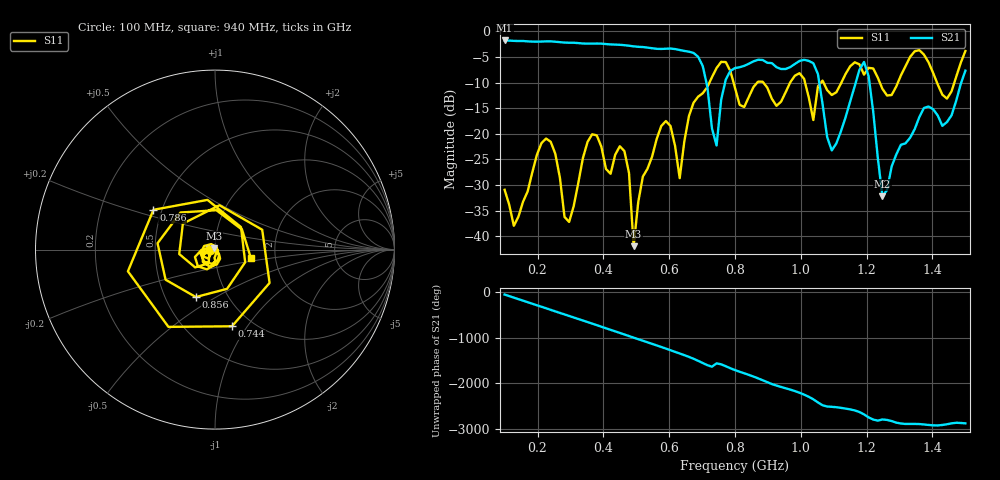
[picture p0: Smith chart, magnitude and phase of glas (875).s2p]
! NanoVNA-App
! Date: 2025-09-25 16:02:17
! Start: 100MHz Stop: 1,5GHz Points: 101
! S-Parameter data: F S11 S21 S12 S22
# Hz S RI R 50
!  Frequency  S11_Real  S11_Imag  S21_Real  S21_Imag  S12_Real  S12_Imag  S22_Real  S22_Imag
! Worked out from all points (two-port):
!   101 points, 100 MHz to 1.5 GHz, reference 50 ohm
!   highest |S21| = -1.80 dB at 100 MHz (marker M1); lowest = -32.2 dB at 1.248 GHz (marker M2)
!   |S21| within 3 dB of the highest: start of sweep to 684.7 MHz
!   lowest |S11| = -41.9 dB at 492 MHz (marker M3), VSWR 1.02, Z = 49.5 + j0.627 ohm
!   |S11| at or under -10 dB: start of sweep to 722.5 MHz; 795.5 MHz to 867.8 MHz (72.31 MHz wide, 8.69 % of centre); 885.9 MHz to 967.6 MHz (81.71 MHz wide, 8.82 % of centre)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
!   S12 and S22 are empty: the file has one direction only
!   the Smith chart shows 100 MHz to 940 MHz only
!   S11 on the Smith chart (normalised r, x): 100 MHz: 0.94, -0.01; 744 MHz: 0.81, -0.85; 786 MHz: 0.45, +0.24; 856 MHz: 0.71, -0.41; 940 MHz: 1.49, -0.15
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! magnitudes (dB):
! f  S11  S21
! 100 MHz  -30.9  -1.8
! 128 MHz  -37.9  -1.9
! 226 MHz  -20.9  -2.0
! 296 MHz  -37.2  -2.2
! 338 MHz  -24.7  -2.4
! 464 MHz  -23.4  -2.7
! 492 MHz  -41.9  -2.9
! 576 MHz  -18.5  -3.5
! 632 MHz  -28.7  -3.7
! 702 MHz  -12.1  -6.8
! 744 MHz  -7.2  -22.3
! 786 MHz  -7.8  -7.7
! 800 MHz  -11.1  -7.2
! 856 MHz  -10.9  -5.9
! 940 MHz  -13.7  -7.4
! 996 MHz  -8.2  -5.8
! 1.038 GHz  -17.3  -6.2
! 1.094 GHz  -12.4  -23.2
! 1.192 GHz  -8.5  -6.0
! 1.248 GHz  -11.2  -32.2
! 1.276 GHz  -12.4  -26.4
! 1.5 GHz  -3.8  -7.7
